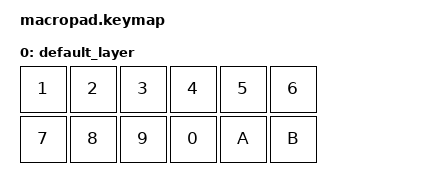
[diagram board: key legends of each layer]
#include <behaviors.dtsi>
#include <dt-bindings/zmk/keys.h>

/ {
    keymap {
        compatible = "zmk,keymap";

        default_layer { // Layer 0
            bindings = <
                &kp 1    &kp 2    &kp 3    &kp 4    &kp 5    &kp 6
                &kp 7    &kp 8    &kp 9    &kp 0    &kp A    &kp B
            >;
        };
    };
 };
